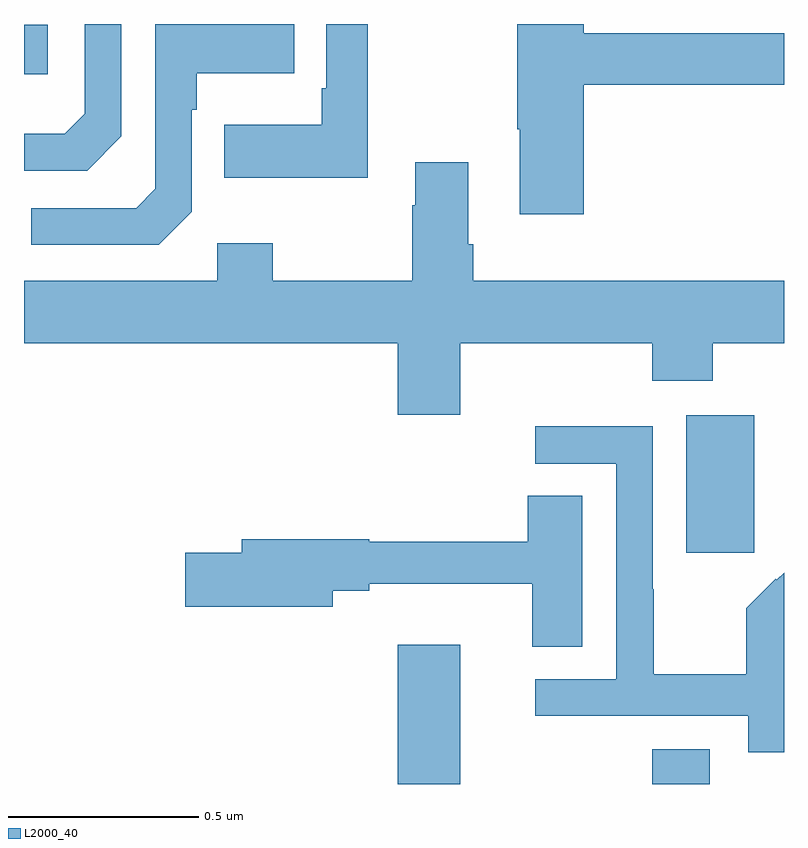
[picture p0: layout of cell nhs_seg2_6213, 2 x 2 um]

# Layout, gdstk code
import gdstk
lib = gdstk.Library(unit=1e-6, precision=1e-09)
def R(c, l, rs):  # rectangles x0, y0, x1, y1
    for r in rs: c.add(gdstk.rectangle(r[:2], r[2:], *l))
def P(c, l, *ps):  # polygons
    for p in ps: c.add(gdstk.Polygon(p, *l))
L2000_40 = (2000, 40)

nhs_seg2_6213 = lib.new_cell('nhs_seg2_6213')
R(nhs_seg2_6213, L2000_40, [(188.984,655.8,189.148,656.167), (189.653,655.8,189.805,655.891), (189.743,656.409,189.922,656.77), (188,657.668,188.062,657.798)])
P(nhs_seg2_6213, L2000_40, [(189.473,657.64),(190,657.64),(190,657.776),(189.473,657.776),(189.473,657.8),(189.298,657.8),(189.298,657.523),(189.305,657.523),(189.305,657.3),(189.473,657.3)],
  [(188.256,657.504),(188.256,657.8),(188.16,657.8),(188.16,657.564),(188.107,657.511),(188,657.511),(188,657.414),(188.166,657.414)],
  [(188.442,657.306),(188.442,657.575),(188.455,657.575),(188.455,657.671),(188.711,657.671),(188.711,657.8),(188.346,657.8),(188.346,657.366),(188.295,657.315),(188.019,657.315),(188.019,657.219),(188.355,657.219)],
  [(188.905,657.8),(188.796,657.8),(188.796,657.631),(188.784,657.631),(188.784,657.535),(188.527,657.535),(188.527,657.395),(188.905,657.395)],
  [(189.169,657.22),(189.169,657.436),(189.029,657.436),(189.029,657.323),(189.022,657.323),(189.022,657.124),(188.655,657.124),(188.655,657.223),(188.508,657.223),(188.508,657.124),(188,657.124),(188,656.96),(188.984,656.96),(188.984,656.772),(189.148,656.772),(189.148,656.96),(189.653,656.96),(189.653,656.861),(189.813,656.861),(189.813,656.96),(190,656.96),(190,657.124),(189.182,657.124),(189.182,657.22)],
  [(190,656.356),(189.981,656.337),(189.978,656.34),(189.901,656.263),(189.901,656.089),(189.657,656.089),(189.657,656.312),(189.654,656.312),(189.654,656.742),(189.345,656.742),(189.345,656.643),(189.558,656.643),(189.558,656.076),(189.345,656.076),(189.345,655.98),(189.906,655.98),(189.906,655.883),(190,655.883)],
  [(189.469,656.558),(189.326,656.558),(189.326,656.437),(188.908,656.437),(188.908,656.444),(188.573,656.444),(188.573,656.408),(188.424,656.408),(188.424,656.266),(188.812,656.266),(188.812,656.308),(188.908,656.308),(188.908,656.327),(189.338,656.327),(189.338,656.161),(189.469,656.161)])

lib.write_gds('nhs_seg2_6213.gds')
